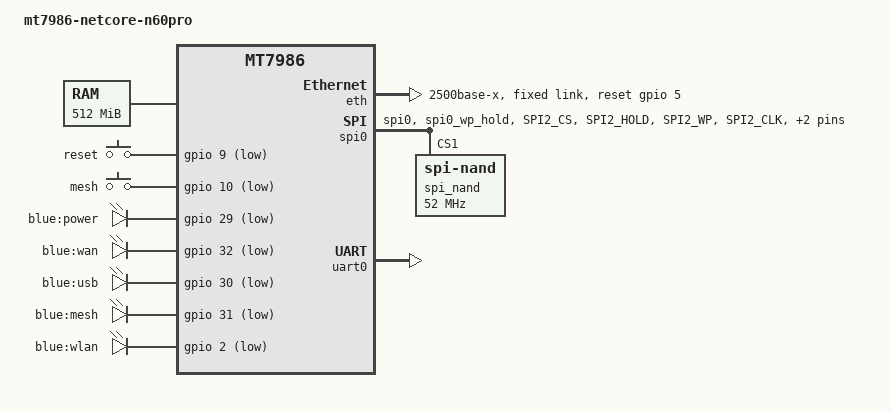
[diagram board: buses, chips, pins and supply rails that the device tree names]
// SPDX-License-Identifier: GPL-2.0

/dts-v1/;
#include "mt7986.dtsi"
#include <dt-bindings/gpio/gpio.h>

/ {
	#address-cells = <1>;
	#size-cells = <1>;
	model = "mt7986-netcore-n60pro";
	compatible = "mediatek,mt7986", "mediatek,mt7986-rfb";

	chosen {
		stdout-path = &uart0;
		tick-timer = &timer0;
	};

	config {
		bootcmd = "mtkboardboot";
		blink_led = "blue:power";
		system_led = "blue:wan";
	};

	memory@40000000 {
		device_type = "memory";
		reg = <0x40000000 0x20000000>;
	};

	gpio-keys {
		compatible = "gpio-keys";

		reset-button {
			label = "reset";
			linux,code = <KEY_RESTART>;
			gpios = <&gpio 9 GPIO_ACTIVE_LOW>;
		};

		mesh-button {
			label = "mesh";
			linux,code = <BTN_9>;
			gpios = <&gpio 10 GPIO_ACTIVE_LOW>;
		};
	};
		
	leds {
		compatible = "gpio-leds";

		led-0 {
			label = "blue:power";
 			gpios = <&gpio 29 GPIO_ACTIVE_LOW>;
 		};
 		
		led-1 {
			label = "blue:wan";
 			gpios = <&gpio 32 GPIO_ACTIVE_LOW>;
 		};
 		
		led-2 {
			label = "blue:usb";
 			gpios = <&gpio 30 GPIO_ACTIVE_LOW>;
 		};
 		
		led-3 {
			label = "blue:mesh";
 			gpios = <&gpio 31 GPIO_ACTIVE_LOW>;
 		};
 		
		led-4 {
			label = "blue:wlan";
 			gpios = <&gpio 2 GPIO_ACTIVE_LOW>;
 		};
	};

	bl2_verify {
		bl2_compatible = "spim-nand";
	};
};

&eth {
	status = "okay";
	mediatek,gmac-id = <0>;
	phy-mode = "2500base-x";
	mediatek,switch = "mt7531";
	reset-gpios = <&gpio 5 GPIO_ACTIVE_HIGH>;

	fixed-link {
		speed = <2500>;
		full-duplex;
	};
};

&pinctrl {
	spi_flash_pins: spi0-pins-func-1 {
		mux {
			function = "flash";
			groups = "spi0", "spi0_wp_hold";
		};

		conf-pu {
			pins = "SPI2_CS", "SPI2_HOLD", "SPI2_WP";
			drive-strength = <MTK_DRIVE_8mA>;
			bias-pull-up = <MTK_PUPD_SET_R1R0_11>;
		};

		conf-pd {
			pins = "SPI2_CLK", "SPI2_MOSI", "SPI2_MISO";
			drive-strength = <MTK_DRIVE_8mA>;
			bias-pull-down = <MTK_PUPD_SET_R1R0_11>;
		};
	};
};

&spi0 {
	#address-cells = <1>;
	#size-cells = <0>;
	pinctrl-names = "default";
	pinctrl-0 = <&spi_flash_pins>;
	status = "okay";
	must_tx;
	enhance_timing;
	dma_ext;
	ipm_design;
	support_quad;
	tick_dly = <2>;
	sample_sel = <0>;

	spi_nand@0 {
		compatible = "spi-nand";
		reg = <1>;
		spi-max-frequency = <52000000>;
	};
};

&uart0 {
	status = "okay";
};

&watchdog {
	status = "disabled";
};
